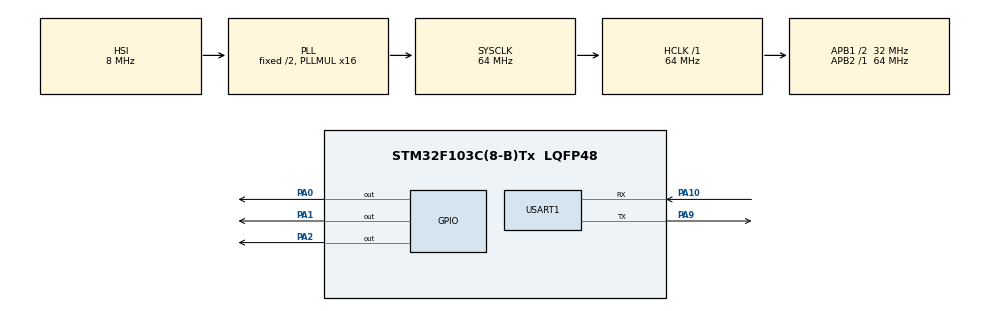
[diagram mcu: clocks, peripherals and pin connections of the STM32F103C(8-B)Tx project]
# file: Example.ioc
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Mcu.Family=STM32F1
PA10.Mode=Asynchronous
RCC.APB1CLKDivider=RCC_HCLK_DIV2
RCC.SYSCLKSource=RCC_SYSCLKSOURCE_PLLCLK
ProjectManager.StackSize=0x400
PA0-WKUP.Signal=GPIO_Output
PA13.Signal=SYS_JTMS-SWDIO
PA9.Mode=Asynchronous
ProjectManager.TargetToolchain=STM32CubeIDE
RCC.HCLKFreq_Value=64000000
RCC.APB2TimFreq_Value=64000000
PA9.Signal=USART1_TX
RCC.USBFreq_Value=64000000
PA1.Signal=GPIO_Output
RCC.AHBFreq_Value=64000000
board=custom
RCC.PLLMUL=RCC_PLL_MUL16
RCC.APB2Freq_Value=64000000
PA14.Mode=Serial_Wire
PA13.Mode=Serial_Wire
Mcu.Name=STM32F103C(8-B)Tx
PA2.Signal=GPIO_Output
RCC.SYSCLKFreq_VALUE=64000000
Mcu.Package=LQFP48
USART1.VirtualMode=VM_ASYNC
PA10.Signal=USART1_RX
PA14.Signal=SYS_JTCK-SWCLK
ProjectManager.HeapSize=0x200
NVIC.PriorityGroup=NVIC_PRIORITYGROUP_4
RCC.APB1TimFreq_Value=64000000
RCC.APB1Freq_Value=32000000

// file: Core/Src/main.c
/* USER CODE BEGIN Header */
/**
  ******************************************************************************
  * @file           : main.c
  * @brief          : Main program body
  ******************************************************************************
  * @attention
  *
  * <h2><center>&copy; Copyright (c) 2020 STMicroelectronics.
  * All rights reserved.</center></h2>
  *
  * This software component is licensed by ST under BSD 3-Clause license,
  * the "License"; You may not use this file except in compliance with the
  * License. You may obtain a copy of the License at:
  *                        opensource.org/licenses/BSD-3-Clause
  *
  ******************************************************************************
  */
/* USER CODE END Header */
#include "main.h"

/* USER CODE BEGIN Includes */
#include "stdio.h"
#include "string.h"
#include "stdint.h"
/* USER CODE END Includes */

UART_HandleTypeDef huart1;

void SystemClock_Config(void);
static void MX_GPIO_Init(void);
static void MX_USART1_UART_Init(void);

int main(void)
{
  /* USER CODE BEGIN 1 */
  float pitch = 0, roll = 0, yaw = 0;
  uint8_t uart_buffer[256];
  uint32_t i = 0;
  /* USER CODE END 1 */

  /* MCU Configuration--------------------------------------------------------*/

  /* Reset of all peripherals, Initializes the Flash interface and the Systick. */
  HAL_Init();

  /* Configure the system clock */
  SystemClock_Config();

  /* Initialize all configured peripherals */
  MX_GPIO_Init();
  MX_USART1_UART_Init();
  /* USER CODE BEGIN 2 */
  if (mpu_dmp_init())
  {
    HAL_UART_Transmit(&huart1, "error", 6, 100);
    return 0;
  }

  /* USER CODE END 2 */

  /* Infinite loop */
  /* USER CODE BEGIN WHILE */
  while (1)
  {
    if (mpu_dmp_get_data(&pitch, &roll, &yaw))
    {
      sprintf(uart_buffer, "error:cannot get data");
    }
    else
    {
      dmp_get_pedometer_step_count(&i);
      sprintf(uart_buffer, "step:%d\r\n", i);

      // sprintf(uart_buffer, "A:%.3f,%.3f,%.3f\n", pitch, roll, yaw);
    }

    HAL_UART_Transmit(&huart1, uart_buffer, (uint16_t)strlen(uart_buffer), 100);
    memset(uart_buffer, 0, 256);
    /* USER CODE END WHILE */

  }
}

void SystemClock_Config(void)
{
  RCC_OscInitTypeDef RCC_OscInitStruct = {0};
  RCC_ClkInitTypeDef RCC_ClkInitStruct = {0};

  /** Initializes the RCC Oscillators according to the specified parameters
  * in the RCC_OscInitTypeDef structure.
  */
  RCC_OscInitStruct.OscillatorType = RCC_OSCILLATORTYPE_HSI;
  RCC_OscInitStruct.HSIState = RCC_HSI_ON;
  RCC_OscInitStruct.HSICalibrationValue = RCC_HSICALIBRATION_DEFAULT;
  RCC_OscInitStruct.PLL.PLLState = RCC_PLL_ON;
  RCC_OscInitStruct.PLL.PLLSource = RCC_PLLSOURCE_HSI_DIV2;
  RCC_OscInitStruct.PLL.PLLMUL = RCC_PLL_MUL16;
  if (HAL_RCC_OscConfig(&RCC_OscInitStruct) != HAL_OK)
  {
    Error_Handler();
  }
  /** Initializes the CPU, AHB and APB buses clocks
  */
  RCC_ClkInitStruct.ClockType = RCC_CLOCKTYPE_HCLK | RCC_CLOCKTYPE_SYSCLK | RCC_CLOCKTYPE_PCLK1 | RCC_CLOCKTYPE_PCLK2;
  RCC_ClkInitStruct.SYSCLKSource = RCC_SYSCLKSOURCE_PLLCLK;
  RCC_ClkInitStruct.AHBCLKDivider = RCC_SYSCLK_DIV1;
  RCC_ClkInitStruct.APB1CLKDivider = RCC_HCLK_DIV2;
  RCC_ClkInitStruct.APB2CLKDivider = RCC_HCLK_DIV1;

  if (HAL_RCC_ClockConfig(&RCC_ClkInitStruct, FLASH_LATENCY_2) != HAL_OK)
  {
    Error_Handler();
  }
}

static void MX_USART1_UART_Init(void)
{

  huart1.Instance = USART1;
  huart1.Init.BaudRate = 115200;
  huart1.Init.WordLength = UART_WORDLENGTH_8B;
  huart1.Init.StopBits = UART_STOPBITS_1;
  huart1.Init.Parity = UART_PARITY_NONE;
  huart1.Init.Mode = UART_MODE_TX_RX;
  huart1.Init.HwFlowCtl = UART_HWCONTROL_NONE;
  huart1.Init.OverSampling = UART_OVERSAMPLING_16;
  if (HAL_UART_Init(&huart1) != HAL_OK)
  {
    Error_Handler();
  }
}

static void MX_GPIO_Init(void)
{
  GPIO_InitTypeDef GPIO_InitStruct = {0};

  /* GPIO Ports Clock Enable */
  __HAL_RCC_GPIOA_CLK_ENABLE();

  /*Configure GPIO pin Output Level */
  HAL_GPIO_WritePin(GPIOA, GPIO_PIN_0 | GPIO_PIN_1 | GPIO_PIN_2, GPIO_PIN_RESET);

  /*Configure GPIO pins : PA0 PA1 PA2 */
  GPIO_InitStruct.Pin = GPIO_PIN_0 | GPIO_PIN_1 | GPIO_PIN_2;
  GPIO_InitStruct.Mode = GPIO_MODE_OUTPUT_PP;
  GPIO_InitStruct.Pull = GPIO_NOPULL;
  GPIO_InitStruct.Speed = GPIO_SPEED_FREQ_LOW;
  HAL_GPIO_Init(GPIOA, &GPIO_InitStruct);
}

void Error_Handler(void)
{
}

/************************ (C) COPYRIGHT STMicroelectronics *****END OF FILE****/
